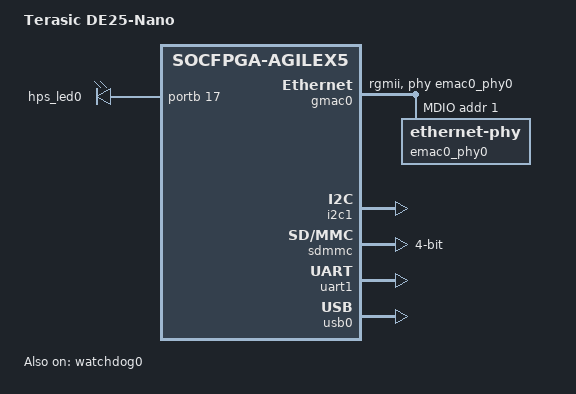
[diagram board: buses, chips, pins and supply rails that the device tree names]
// SPDX-License-Identifier: GPL-2.0-only
/*
 * Copyright (C) 2023, Intel Corporation
 * Copyright (C) 2026, Alexandra Østermark
 */
#include "socfpga_agilex5.dtsi"

/ {
	model = "Terasic DE25-Nano";
	compatible = "terasic,de25-nano", "intel,socfpga-agilex5";

	aliases {
		serial0 = &uart1;
		ethernet0 = &gmac0;
	};

	chosen {
		stdout-path = "serial0:115200n8";
	};

	leds {
		compatible = "gpio-leds";

		led-0 {
			label = "hps_led0";
			gpios = <&portb 17 GPIO_ACTIVE_HIGH>;
		};
	};

	memory@80000000 {
		device_type = "memory";
		/* We expect the bootloader to fill in the reg */
		reg = <0x0 0x80000000 0x0 0x0>;
	};
};

&gmac0 {
	/* TX/RX delays are on the PCB */
	phy-mode = "rgmii";
	phy-handle = <&emac0_phy0>;
	max-frame-size = <9000>;

	status = "okay";

	mdio0 {
		compatible = "snps,dwmac-mdio";
		#address-cells = <1>;
		#size-cells = <0>;

		emac0_phy0: ethernet-phy@1 {
			reg = <1>;
		};
	};
};

&gpio1 {
	status = "okay";
};

&i2c1 {
	status = "okay";
};

&osc1 {
	clock-frequency = <25000000>;
};

&sdmmc {
	bus-width = <4>;
	cap-sd-highspeed;
	disable-wp;
	no-1-8-v;
	no-mmc;
	no-sdio;

	status = "okay";
};

&smmu {
	status = "okay";
};

&uart1 {
	status = "okay";
};

&usb0 {
	disable-over-current;

	status = "okay";
};

&watchdog0 {
	status = "okay";
};
